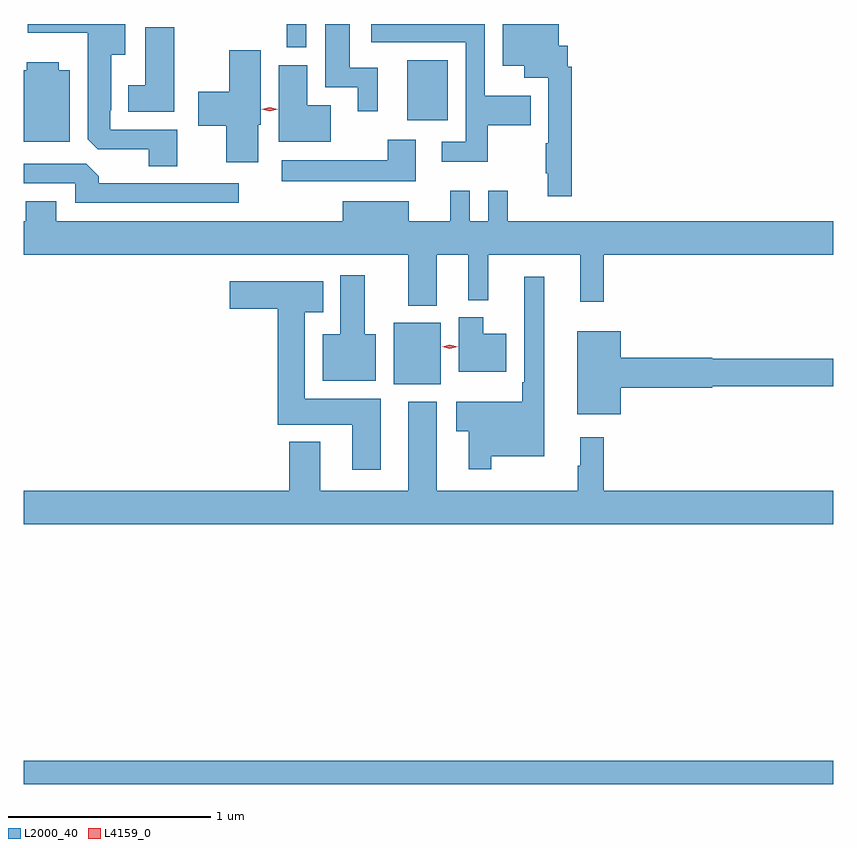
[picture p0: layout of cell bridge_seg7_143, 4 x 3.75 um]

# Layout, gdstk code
import gdstk
lib = gdstk.Library(unit=1e-6, precision=1e-09)
def R(c, l, rs):  # rectangles x0, y0, x1, y1
    for r in rs: c.add(gdstk.rectangle(r[:2], r[2:], *l))
def P(c, l, *ps):  # polygons
    for p in ps: c.add(gdstk.Polygon(p, *l))
L2000_40 = (2000, 40)
L4159_0 = (4159, 0)

bridge_seg7_143 = lib.new_cell('bridge_seg7_143')
R(bridge_seg7_143, L2000_40, [(867.835,998,871.835,998.116), (869.663,999.974,869.896,1000.279), (869.729,1001.279,869.929,1001.575), (869.134,1001.64,869.232,1001.755), (868.748,1001.754,868.888,1001.755)])
P(bridge_seg7_143, L2000_40, [(870.542,1001.543),(870.522,1001.543),(870.522,1001.647),(870.479,1001.647),(870.479,1001.755),(870.203,1001.755),(870.203,1001.549),(870.308,1001.549),(870.308,1001.489),(870.426,1001.489),(870.426,1001.165),(870.414,1001.165),(870.414,1001.017),(870.425,1001.017),(870.425,1000.905),(870.542,1000.905)],
  [(870.127,1001.254),(870.341,1001.254),(870.341,1001.401),(870.114,1001.401),(870.114,1001.755),(869.553,1001.755),(869.553,1001.664),(870.018,1001.664),(870.018,1001.172),(869.901,1001.172),(869.901,1001.075),(870.127,1001.075)],
  [(868.594,1001.232),(868.263,1001.232),(868.263,1001.329),(868.267,1001.329),(868.267,1001.603),(868.336,1001.603),(868.336,1001.755),(867.855,1001.755),(867.855,1001.711),(868.151,1001.711),(868.151,1001.185),(868.2,1001.136),(868.454,1001.136),(868.454,1001.053),(868.594,1001.053)],
  [(869.584,1001.538),(869.446,1001.538),(869.446,1001.755),(869.324,1001.755),(869.324,1001.442),(869.486,1001.442),(869.486,1001.325),(869.584,1001.325)],
  [(868.579,1001.74),(868.436,1001.74),(868.436,1001.452),(868.352,1001.452),(868.352,1001.321),(868.579,1001.321)],
  [(868.993,1001.256),(869.005,1001.256),(869.005,1001.626),(868.85,1001.626),(868.85,1001.421),(868.698,1001.421),(868.698,1001.252),(868.835,1001.252),(868.835,1001.073),(868.993,1001.073)],
  [(868.063,1001.527),(868.009,1001.527),(868.009,1001.566),(867.851,1001.566),(867.851,1001.527),(867.835,1001.527),(867.835,1001.174),(868.063,1001.174)],
  [(869.353,1001.353),(869.236,1001.353),(869.236,1001.551),(869.096,1001.551),(869.096,1001.174),(869.353,1001.174)],
  [(869.773,1001.182),(869.633,1001.182),(869.633,1001.083),(869.109,1001.083),(869.109,1000.979),(869.773,1000.979)],
  [(868.897,1000.968),(868.205,1000.968),(868.205,1001.002),(868.143,1001.064),(867.835,1001.064),(867.835,1000.968),(868.089,1000.968),(868.089,1000.872),(868.897,1000.872)],
  [(870.227,1000.93),(870.129,1000.93),(870.129,1000.78),(870.039,1000.78),(870.039,1000.93),(869.942,1000.93),(869.942,1000.78),(869.737,1000.78),(869.737,1000.879),(869.411,1000.879),(869.411,1000.78),(867.997,1000.78),(867.997,1000.879),(867.845,1000.879),(867.845,1000.78),(867.835,1000.78),(867.835,1000.616),(869.735,1000.616),(869.735,1000.364),(869.875,1000.364),(869.875,1000.616),(870.032,1000.616),(870.032,1000.391),(870.131,1000.391),(870.131,1000.616),(870.584,1000.616),(870.584,1000.383),(870.701,1000.383),(870.701,1000.616),(871.835,1000.616),(871.835,1000.78),(870.227,1000.78)],
  [(869.575,1000.222),(869.521,1000.222),(869.521,1000.513),(869.399,1000.513),(869.399,1000.222),(869.312,1000.222),(869.312,999.992),(869.575,999.992)],
  [(870.145,999.62),(870.406,999.62),(870.406,1000.507),(870.309,1000.507),(870.309,999.985),(870.297,999.985),(870.297,999.889),(869.972,999.889),(869.972,999.742),(870.035,999.742),(870.035,999.555),(870.145,999.555)],
  [(869.599,999.904),(869.224,999.904),(869.224,1000.331),(869.314,1000.331),(869.314,1000.483),(868.854,1000.483),(868.854,1000.349),(869.09,1000.349),(869.09,999.776),(869.459,999.776),(869.459,999.552),(869.599,999.552)],
  [(870.22,1000.225),(870.106,1000.225),(870.106,1000.306),(869.984,1000.306),(869.984,1000.037),(870.22,1000.037)],
  [(870.784,999.959),(871.236,999.959),(871.236,999.964),(871.835,999.964),(871.835,1000.1),(871.236,1000.1),(871.236,1000.106),(870.784,1000.106),(870.784,1000.237),(870.569,1000.237),(870.569,999.827),(870.784,999.827)],
  [(871.835,999.448),(870.701,999.448),(870.701,999.712),(870.584,999.712),(870.584,999.572),(870.573,999.572),(870.573,999.448),(869.875,999.448),(869.875,999.889),(869.735,999.889),(869.735,999.448),(869.299,999.448),(869.299,999.691),(869.147,999.691),(869.147,999.448),(867.835,999.448),(867.835,999.284),(871.835,999.284)])
P(bridge_seg7_143, L4159_0, [(869.05,1001.324),(869.01,1001.334),(869.01,1001.334),(869.01,1001.334),(869.051,1001.344),(869.091,1001.333),(869.091,1001.333),(869.091,1001.333)],
  [(869.941,1000.151),(869.902,1000.16),(869.902,1000.161),(869.902,1000.161),(869.941,1000.171),(869.98,1000.161),(869.98,1000.161),(869.98,1000.16)])

lib.write_gds('bridge_seg7_143.gds')
